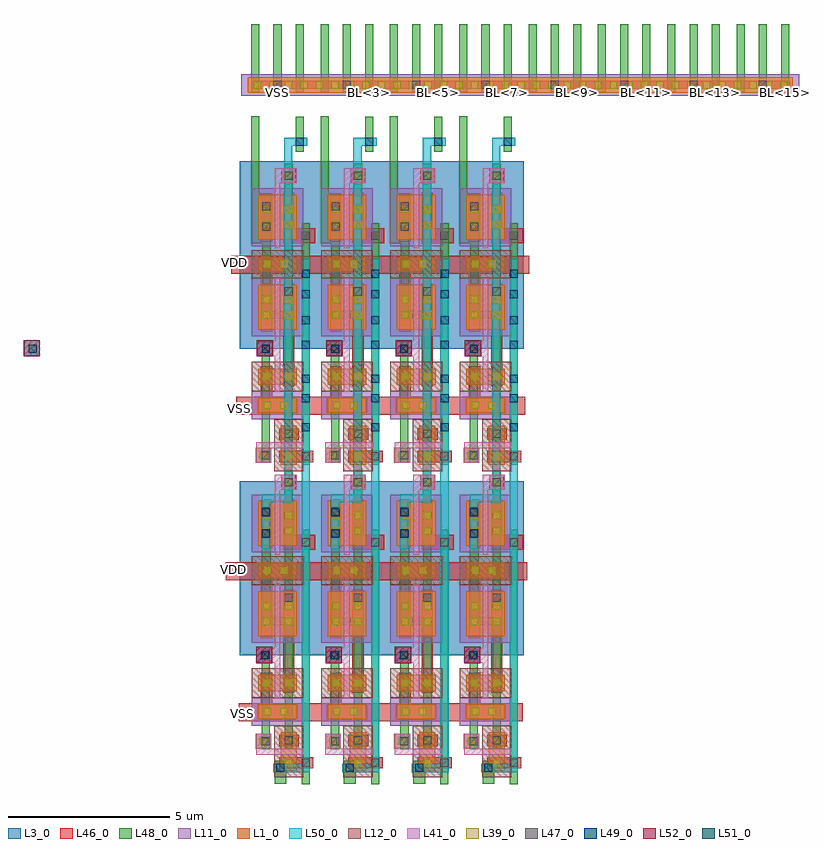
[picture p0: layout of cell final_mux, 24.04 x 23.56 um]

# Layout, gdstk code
import gdstk
lib = gdstk.Library(unit=1e-6, precision=1e-09)
def R(c, l, rs):  # rectangles x0, y0, x1, y1
    for r in rs: c.add(gdstk.rectangle(r[:2], r[2:], *l))
def A(c, l, x, y, w, h, nx, ny, dx, dy):  # array of equal rectangles
    R(c, l, [(x+i*dx, y+j*dy, x+i*dx+w, y+j*dy+h) for i in range(nx) for j in range(ny)])
L1_0 = (1, 0)
L3_0 = (3, 0)
L11_0 = (11, 0)
L12_0 = (12, 0)
L39_0 = (39, 0)
L41_0 = (41, 0)
L46_0 = (46, 0)
L47_0 = (47, 0)
L48_0 = (48, 0)
L49_0 = (49, 0)
L50_0 = (50, 0)
L51_0 = (51, 0)
L52_0 = (52, 0)

final_mux = lib.new_cell('final_mux')
A(final_mux, L1_0, 6.136, -16.386, 0.5, 1.2, 4, 2, 2.15, 9.5)
A(final_mux, L1_0, 5.441, -14.78, 1.2, 0.47, 4, 2, 2.15, 4.375)
A(final_mux, L1_0, 5.441, -13.91, 1.2, 0.5, 4, 2, 2.15, 9.5)
A(final_mux, L1_0, 5.441, -12.205, 1.2, 1.395, 4, 2, 2.15, 2.795)
A(final_mux, L1_0, 5.441, -5.28, 1.2, 0.47, 4, 2, 2.15, 4.375)
A(final_mux, L1_0, 5.441, -2.705, 1.2, 1.395, 4, 2, 2.15, 2.795)
R(final_mux, L1_0, [(5.115,4.65,22.015,5.12)])
A(final_mux, L3_0, 4.863, -12.8, 2.355, 5.39, 4, 1, 2.15, 0)
A(final_mux, L3_0, 4.863, -3.3, 2.355, 5.82, 4, 1, 2.15, 0)
A(final_mux, L11_0, 5.241, -14.98, 1.6, 0.87, 4, 2, 2.15, 9.5)
A(final_mux, L11_0, 5.241, -12.405, 1.6, 1.795, 4, 2, 2.15, 2.795)
A(final_mux, L11_0, 5.241, -2.905, 1.6, 1.795, 4, 2, 2.15, 2.795)
R(final_mux, L11_0, [(4.915,4.55,22.215,5.22)])
A(final_mux, L12_0, 5.936, -16.586, 0.905, 1.6, 4, 2, 2.15, 9.5)
A(final_mux, L12_0, 5.241, -14.11, 1.6, 0.905, 4, 2, 2.15, 9.5)
A(final_mux, L12_0, 5.241, -10.605, 1.6, 0.87, 4, 2, 2.15, 9.5)
A(final_mux, L39_0, 6.271, -16.246, 0.23, 0.23, 4, 2, 2.15, 9.5)
A(final_mux, L39_0, 5.496, -15.58, 0.23, 0.23, 4, 2, 2.15, 8.865)
A(final_mux, L39_0, 5.561, -12.91, 0.23, 0.23, 4, 2, 2.15, 9.5)
A(final_mux, L39_0, 6.266, -7.545, 0.23, 0.23, 4, 2, 2.15, 9.5)
A(final_mux, L39_0, 5.31, 4.77, 0.23, 0.23, 35, 1, 0.48, 0)
R(final_mux, L39_0, [(6.271,-15.556,6.501,-15.326), (6.271,-15.556,6.501,-15.326), (8.421,-15.556,8.651,-15.326), (8.421,-15.556,8.651,-15.326), (10.571,-15.556,10.801,-15.326), (10.571,-15.556,10.801,-15.326), (12.721,-15.556,12.951,-15.326), (12.721,-15.556,12.951,-15.326), (5.611,-14.66,5.841,-14.43), (6.126,-14.66,6.356,-14.43), (7.761,-14.66,7.991,-14.43), (8.276,-14.66,8.506,-14.43), (9.911,-14.66,10.141,-14.43), (10.426,-14.66,10.656,-14.43), (12.061,-14.66,12.291,-14.43), (12.576,-14.66,12.806,-14.43), (5.581,-13.775,5.811,-13.545), (5.581,-13.775,5.811,-13.545), (6.271,-13.775,6.501,-13.545), (7.731,-13.775,7.961,-13.545), (7.731,-13.775,7.961,-13.545), (8.421,-13.775,8.651,-13.545), (9.881,-13.775,10.111,-13.545), (9.881,-13.775,10.111,-13.545), (10.571,-13.775,10.801,-13.545), (12.031,-13.775,12.261,-13.545), (12.031,-13.775,12.261,-13.545), (12.721,-13.775,12.951,-13.545), (5.581,-11.86,5.811,-11.63), (5.581,-11.86,5.811,-11.63), (6.271,-11.86,6.501,-11.63), (7.731,-11.86,7.961,-11.63), (7.731,-11.86,7.961,-11.63), (8.421,-11.86,8.651,-11.63), (9.881,-11.86,10.111,-11.63), (9.881,-11.86,10.111,-11.63), (10.571,-11.86,10.801,-11.63), (12.031,-11.86,12.261,-11.63), (12.031,-11.86,12.261,-11.63), (12.721,-11.86,12.951,-11.63), (5.581,-11.38,5.811,-11.15), (5.581,-11.38,5.811,-11.15), (6.271,-11.38,6.501,-11.15), (7.731,-11.38,7.961,-11.15), (7.731,-11.38,7.961,-11.15), (8.421,-11.38,8.651,-11.15), (9.881,-11.38,10.111,-11.15), (9.881,-11.38,10.111,-11.15), (10.571,-11.38,10.801,-11.15), (12.031,-11.38,12.261,-11.15), (12.031,-11.38,12.261,-11.15), (12.721,-11.38,12.951,-11.15), (5.611,-10.285,5.841,-10.055), (6.126,-10.285,6.356,-10.055), (7.761,-10.285,7.991,-10.055), (8.276,-10.285,8.506,-10.055), (9.911,-10.285,10.141,-10.055), (10.426,-10.285,10.656,-10.055), (12.061,-10.285,12.291,-10.055), (12.576,-10.285,12.806,-10.055), (5.581,-9.065,5.811,-8.835), (5.581,-9.065,5.811,-8.835), (6.271,-9.065,6.501,-8.835), (7.731,-9.065,7.961,-8.835), (7.731,-9.065,7.961,-8.835), (8.421,-9.065,8.651,-8.835), (9.881,-9.065,10.111,-8.835), (9.881,-9.065,10.111,-8.835), (10.571,-9.065,10.801,-8.835), (12.031,-9.065,12.261,-8.835), (12.031,-9.065,12.261,-8.835), (12.721,-9.065,12.951,-8.835), (5.581,-8.585,5.811,-8.355), (5.581,-8.585,5.811,-8.355), (6.271,-8.585,6.501,-8.355), (7.731,-8.585,7.961,-8.355), (7.731,-8.585,7.961,-8.355), (8.421,-8.585,8.651,-8.355), (9.881,-8.585,10.111,-8.355), (9.881,-8.585,10.111,-8.355), (10.571,-8.585,10.801,-8.355), (12.031,-8.585,12.261,-8.355), (12.031,-8.585,12.261,-8.355), (12.721,-8.585,12.951,-8.355), (6.271,-6.056,6.501,-5.826), (6.271,-6.056,6.501,-5.826), (8.421,-6.056,8.651,-5.826), (8.421,-6.056,8.651,-5.826), (10.571,-6.056,10.801,-5.826), (10.571,-6.056,10.801,-5.826), (12.721,-6.056,12.951,-5.826), (12.721,-6.056,12.951,-5.826), (5.611,-5.16,5.841,-4.93), (6.126,-5.16,6.356,-4.93), (7.761,-5.16,7.991,-4.93), (8.276,-5.16,8.506,-4.93), (9.911,-5.16,10.141,-4.93), (10.426,-5.16,10.656,-4.93), (12.061,-5.16,12.291,-4.93), (12.576,-5.16,12.806,-4.93), (5.581,-4.275,5.811,-4.045), (5.581,-4.275,5.811,-4.045), (6.271,-4.275,6.501,-4.045), (7.731,-4.275,7.961,-4.045), (7.731,-4.275,7.961,-4.045), (8.421,-4.275,8.651,-4.045), (9.881,-4.275,10.111,-4.045), (9.881,-4.275,10.111,-4.045), (10.571,-4.275,10.801,-4.045), (12.031,-4.275,12.261,-4.045), (12.031,-4.275,12.261,-4.045), (12.721,-4.275,12.951,-4.045), (5.581,-2.36,5.811,-2.13), (5.581,-2.36,5.811,-2.13), (6.271,-2.36,6.501,-2.13), (7.731,-2.36,7.961,-2.13), (7.731,-2.36,7.961,-2.13), (8.421,-2.36,8.651,-2.13), (9.881,-2.36,10.111,-2.13), (9.881,-2.36,10.111,-2.13), (10.571,-2.36,10.801,-2.13), (12.031,-2.36,12.261,-2.13), (12.031,-2.36,12.261,-2.13), (12.721,-2.36,12.951,-2.13), (5.581,-1.88,5.811,-1.65), (5.581,-1.88,5.811,-1.65), (6.271,-1.88,6.501,-1.65), (7.731,-1.88,7.961,-1.65), (7.731,-1.88,7.961,-1.65), (8.421,-1.88,8.651,-1.65), (9.881,-1.88,10.111,-1.65), (9.881,-1.88,10.111,-1.65), (10.571,-1.88,10.801,-1.65), (12.031,-1.88,12.261,-1.65), (12.031,-1.88,12.261,-1.65), (12.721,-1.88,12.951,-1.65), (5.611,-0.785,5.841,-0.555), (6.126,-0.785,6.356,-0.555), (7.761,-0.785,7.991,-0.555), (8.276,-0.785,8.506,-0.555), (9.911,-0.785,10.141,-0.555), (10.426,-0.785,10.656,-0.555), (12.061,-0.785,12.291,-0.555), (12.576,-0.785,12.806,-0.555), (5.581,0.435,5.811,0.665), (5.581,0.435,5.811,0.665), (6.271,0.435,6.501,0.665), (7.731,0.435,7.961,0.665), (7.731,0.435,7.961,0.665), (8.421,0.435,8.651,0.665), (9.881,0.435,10.111,0.665), (9.881,0.435,10.111,0.665), (10.571,0.435,10.801,0.665), (12.031,0.435,12.261,0.665), (12.031,0.435,12.261,0.665), (12.721,0.435,12.951,0.665), (5.581,0.915,5.811,1.145), (5.581,0.915,5.811,1.145), (6.271,0.915,6.501,1.145), (7.731,0.915,7.961,1.145), (7.731,0.915,7.961,1.145), (8.421,0.915,8.651,1.145), (9.881,0.915,10.111,1.145), (9.881,0.915,10.111,1.145), (10.571,0.915,10.801,1.145), (12.031,0.915,12.261,1.145), (12.031,0.915,12.261,1.145), (12.721,0.915,12.951,1.145)])
A(final_mux, L41_0, 5.376, -15.876, 1.465, 0.18, 4, 2, 2.15, 9.5)
A(final_mux, L41_0, 5.376, -15.7, 0.475, 0.47, 4, 2, 2.15, 8.865)
A(final_mux, L41_0, 5.951, -14.11, 0.18, 1.09, 4, 2, 2.15, 9.5)
A(final_mux, L41_0, 5.421, -13.03, 0.71, 0.47, 4, 2, 2.15, 9.5)
A(final_mux, L41_0, 5.951, -12.615, 0.18, 2.005, 4, 2, 2.15, 9.5)
A(final_mux, L41_0, 5.951, -9.675, 0.18, 2.035, 4, 2, 2.15, 9.5)
A(final_mux, L41_0, 5.951, -7.665, 0.68, 0.47, 4, 2, 2.15, 9.5)
A(final_mux, L46_0, 6.091, -16.306, 0.64, 0.35, 4, 2, 2.15, 9.5)
A(final_mux, L46_0, 6.551, -16.306, 0.595, 0.351, 4, 2, 2.15, 9.5)
A(final_mux, L46_0, 5.366, -15.7, 0.485, 0.47, 4, 2, 2.15, 8.865)
A(final_mux, L46_0, 6.091, -15.616, 0.615, 0.35, 4, 2, 2.15, 9.5)
A(final_mux, L46_0, 5.376, -14.845, 1.295, 0.555, 4, 2, 2.15, 4.375)
A(final_mux, L46_0, 5.521, -14.315, 0.35, 0.975, 4, 2, 2.15, 9.5)
A(final_mux, L46_0, 5.521, -13.955, 0.35, 0.615, 4, 2, 2.15, 9.5)
A(final_mux, L46_0, 6.211, -13.955, 0.35, 0.87, 4, 2, 2.15, 9.5)
A(final_mux, L46_0, 6.211, -13.115, 0.35, 2.35, 4, 2, 2.15, 9.5)
A(final_mux, L46_0, 5.421, -13.03, 0.45, 0.47, 4, 1, 2.15, 0)
A(final_mux, L46_0, 5.521, -12.265, 0.35, 1.5, 4, 2, 2.15, 2.795)
A(final_mux, L46_0, 5.521, -12.265, 0.35, 1.81, 4, 2, 2.15, 9.5)
A(final_mux, L46_0, 6.211, -9.53, 0.35, 1.57, 4, 2, 2.15, 9.5)
A(final_mux, L46_0, 6.161, -7.665, 0.45, 0.47, 4, 2, 2.15, 9.5)
A(final_mux, L46_0, 5.376, -5.345, 1.295, 0.555, 4, 2, 2.15, 4.375)
A(final_mux, L46_0, 5.421, -3.53, 0.485, 0.47, 4, 1, 2.15, 0)
A(final_mux, L46_0, 5.521, -2.765, 0.35, 1.5, 4, 2, 2.15, 2.795)
R(final_mux, L46_0, [(4.841,-14.845,13.646,-14.29), (4.431,-10.47,13.791,-9.915), (6.536,-9.53,6.986,-9.06), (6.756,-9.53,7.206,-9.06), (8.686,-9.53,9.136,-9.06), (8.906,-9.53,9.356,-9.06), (10.836,-9.53,11.286,-9.06), (11.056,-9.53,11.506,-9.06), (12.986,-9.53,13.436,-9.06), (13.206,-9.53,13.656,-9.06), (4.756,-5.345,13.716,-4.79), (4.611,-0.97,13.841,-0.415), (6.536,-0.03,6.986,0.44), (6.756,-0.03,7.206,0.44), (8.686,-0.03,9.136,0.44), (8.906,-0.03,9.356,0.44), (10.836,-0.03,11.286,0.44), (11.056,-0.03,11.506,0.44), (12.986,-0.03,13.436,0.44), (13.206,-0.03,13.656,0.44), (5.23,4.76,21.94,5.01)])
A(final_mux, L47_0, 6.791, -16.255, 0.25, 0.25, 4, 2, 2.15, 6.835)
A(final_mux, L47_0, 5.551, -15.585, 0.25, 0.25, 4, 2, 2.15, 2.66)
A(final_mux, L47_0, 6.261, -15.561, 0.25, 0.25, 4, 2, 2.15, 4.416)
A(final_mux, L47_0, 5.566, -9.135, 0.25, 0.25, 4, 2, 2.15, 0.635)
A(final_mux, L47_0, 6.261, -7.56, 0.25, 0.25, 4, 2, 2.15, 1.499)
A(final_mux, L47_0, 6.791, -6.755, 0.25, 0.25, 4, 2, 2.15, 6.835)
A(final_mux, L47_0, 5.551, -6.72, 0.25, 0.25, 4, 2, 2.15, 3.295)
A(final_mux, L47_0, 6.261, -1.645, 0.25, 0.25, 4, 2, 2.15, 3.585)
A(final_mux, L47_0, 5.566, 0.365, 0.25, 0.25, 4, 2, 2.15, 0.635)
A(final_mux, L47_0, 5.915, 4.76, 0.25, 0.25, 8, 1, 2.15, 0)
A(final_mux, L48_0, 6.791, -16.79, 0.25, 7.89, 4, 1, 2.15, 0)
A(final_mux, L48_0, 5.546, -15.705, 0.26, 1.65, 4, 1, 2.15, 0)
A(final_mux, L48_0, 6.26, -15.674, 0.26, 3.15, 4, 2, 2.15, 9.5)
A(final_mux, L48_0, 5.546, -14.91, 0.26, 2.35, 4, 1, 2.15, 0)
A(final_mux, L48_0, 6.261, -12.6, 0.259, 0.985, 4, 2, 2.15, 9.5)
A(final_mux, L48_0, 5.55, -11.865, 0.275, 3.885, 4, 1, 2.15, 0)
A(final_mux, L48_0, 5.565, -11.865, 0.946, 0.25, 4, 2, 2.15, 9.5)
A(final_mux, L48_0, 6.261, -11.27, 0.25, 4.205, 4, 2, 2.15, 9.5)
A(final_mux, L48_0, 6.791, -6.89, 0.255, 7.49, 4, 1, 2.15, 0)
A(final_mux, L48_0, 5.551, -6.835, 0.25, 2.28, 4, 1, 2.15, 0)
A(final_mux, L48_0, 5.546, -5.41, 0.255, 2.35, 4, 1, 2.15, 0)
A(final_mux, L48_0, 5.56, -2.365, 0.265, 3.885, 4, 1, 2.15, 0)
A(final_mux, L48_0, 5.225, -0.025, 0.25, 1.54, 4, 2, 2.15, 1.48)
A(final_mux, L48_0, 5.41, -0.025, 0.25, 1.545, 4, 1, 2.15, 0)
A(final_mux, L48_0, 5.225, 2.82, 0.25, 1.1, 4, 1, 2.15, 0)
A(final_mux, L48_0, 6.605, 2.82, 0.25, 1.075, 4, 1, 2.15, 0)
R(final_mux, L48_0, [(5.949,-16.785,6.209,-16.065), (6.054,-16.785,6.314,-16.065), (8.099,-16.785,8.359,-16.065), (8.204,-16.785,8.464,-16.065), (10.249,-16.785,10.509,-16.065), (10.354,-16.785,10.614,-16.065), (12.399,-16.785,12.659,-16.065), (12.504,-16.785,12.764,-16.065)])
A(final_mux, L49_0, 6.005, -16.415, 0.25, 0.25, 4, 1, 2.15, 0)
A(final_mux, L49_0, 5.55, -12.925, 0.25, 0.25, 4, 2, 2.15, 3.765)
A(final_mux, L49_0, 5.55, -8.48, 0.25, 0.25, 4, 2, 2.15, 5.065)
A(final_mux, L49_0, 6.795, -5.85, 0.25, 0.25, 4, 2, 2.15, 0.9)
A(final_mux, L49_0, 6.795, -4.35, 0.25, 0.25, 4, 2, 2.15, 1.05)
A(final_mux, L49_0, 6.795, -2.53, 0.25, 0.25, 4, 2, 2.15, 0.805)
A(final_mux, L49_0, 6.795, -1.095, 0.25, 0.25, 4, 1, 2.15, 0)
A(final_mux, L49_0, 6.605, 3.005, 0.25, 0.25, 4, 1, 2.15, 0)
A(final_mux, L50_0, 5.905, -16.419, 1.141, 0.255, 4, 1, 2.15, 0)
A(final_mux, L50_0, 6.791, -16.395, 0.255, 15.895, 4, 1, 2.15, 0)
A(final_mux, L50_0, 5.545, -9.515, 0.255, 1.665, 4, 1, 2.15, 0)
A(final_mux, L50_0, 5.545, -8.055, 0.96, 0.255, 4, 1, 2.15, 0)
A(final_mux, L50_0, 6.246, -7.93, 0.255, 11.185, 4, 1, 2.15, 0)
A(final_mux, L50_0, 5.405, -3.53, 0.5, 0.5, 4, 1, 2.15, 0)
A(final_mux, L50_0, 6.25, 3.005, 0.71, 0.25, 4, 1, 2.15, 0)
R(final_mux, L50_0, [(5.38,-13.04,5.88,-12.54), (5.38,-13.04,5.88,-12.54), (7.53,-13.04,8.03,-12.54), (7.53,-13.04,8.03,-12.54), (9.68,-13.04,10.18,-12.54), (9.68,-13.04,10.18,-12.54), (11.83,-13.04,12.33,-12.54), (11.83,-13.04,12.33,-12.54), (-1.825,-3.53,-1.325,-3.03)])
A(final_mux, L51_0, 5.525, -12.925, 0.25, 0.25, 4, 1, 2.15, 0)
A(final_mux, L51_0, 5.545, -3.415, 0.25, 0.25, 4, 1, 2.15, 0)
R(final_mux, L51_0, [(-1.68,-3.415,-1.43,-3.165)])
A(final_mux, L52_0, 5.38, -13.04, 0.5, 0.5, 4, 1, 2.15, 0)
A(final_mux, L52_0, 5.4, -3.53, 0.5, 0.5, 4, 1, 2.15, 0)
R(final_mux, L52_0, [(-1.825,-3.53,-1.325,-3.03)])
final_mux.add(gdstk.FlexPath([(13.95,4.66),(13.95,6.775)], 0.25, ends="flush", simple_path=True, layer=48, datatype=0))  # L48_0
final_mux.add(gdstk.FlexPath([(14.64,4.66),(14.64,6.775)], 0.25, ends="flush", simple_path=True, layer=48, datatype=0))  # L48_0
final_mux.add(gdstk.FlexPath([(15.33,4.66),(15.33,6.775)], 0.25, ends="flush", simple_path=True, layer=48, datatype=0))  # L48_0
final_mux.add(gdstk.FlexPath([(16.1,4.66),(16.1,6.775)], 0.25, ends="flush", simple_path=True, layer=48, datatype=0))  # L48_0
final_mux.add(gdstk.FlexPath([(16.79,4.66),(16.79,6.775)], 0.25, ends="flush", simple_path=True, layer=48, datatype=0))  # L48_0
final_mux.add(gdstk.FlexPath([(17.48,4.66),(17.48,6.775)], 0.25, ends="flush", simple_path=True, layer=48, datatype=0))  # L48_0
final_mux.add(gdstk.FlexPath([(18.25,4.66),(18.25,6.775)], 0.25, ends="flush", simple_path=True, layer=48, datatype=0))  # L48_0
final_mux.add(gdstk.FlexPath([(18.94,4.66),(18.94,6.775)], 0.25, ends="flush", simple_path=True, layer=48, datatype=0))  # L48_0
final_mux.add(gdstk.FlexPath([(19.63,4.66),(19.63,6.775)], 0.25, ends="flush", simple_path=True, layer=48, datatype=0))  # L48_0
final_mux.add(gdstk.FlexPath([(20.4,4.66),(20.4,6.775)], 0.25, ends="flush", simple_path=True, layer=48, datatype=0))  # L48_0
final_mux.add(gdstk.FlexPath([(21.09,4.66),(21.09,6.775)], 0.25, ends="flush", simple_path=True, layer=48, datatype=0))  # L48_0
final_mux.add(gdstk.FlexPath([(21.78,4.66),(21.78,6.775)], 0.25, ends="flush", simple_path=True, layer=48, datatype=0))  # L48_0
final_mux.add(gdstk.FlexPath([(5.35,4.66),(5.35,6.775)], 0.25, ends="flush", simple_path=True, layer=48, datatype=0))  # L48_0
final_mux.add(gdstk.FlexPath([(6.04,4.66),(6.04,6.775)], 0.25, ends="flush", simple_path=True, layer=48, datatype=0))  # L48_0
final_mux.add(gdstk.FlexPath([(6.73,4.66),(6.73,6.775)], 0.25, ends="flush", simple_path=True, layer=48, datatype=0))  # L48_0
final_mux.add(gdstk.FlexPath([(7.5,4.66),(7.5,6.775)], 0.25, ends="flush", simple_path=True, layer=48, datatype=0))  # L48_0
final_mux.add(gdstk.FlexPath([(8.19,4.66),(8.19,6.775)], 0.25, ends="flush", simple_path=True, layer=48, datatype=0))  # L48_0
final_mux.add(gdstk.FlexPath([(8.88,4.66),(8.88,6.775)], 0.25, ends="flush", simple_path=True, layer=48, datatype=0))  # L48_0
final_mux.add(gdstk.FlexPath([(9.65,4.66),(9.65,6.775)], 0.25, ends="flush", simple_path=True, layer=48, datatype=0))  # L48_0
final_mux.add(gdstk.FlexPath([(10.34,4.66),(10.34,6.775)], 0.25, ends="flush", simple_path=True, layer=48, datatype=0))  # L48_0
final_mux.add(gdstk.FlexPath([(11.03,4.66),(11.03,6.775)], 0.25, ends="flush", simple_path=True, layer=48, datatype=0))  # L48_0
final_mux.add(gdstk.FlexPath([(13.18,4.66),(13.18,6.775)], 0.25, ends="flush", simple_path=True, layer=48, datatype=0))  # L48_0
final_mux.add(gdstk.FlexPath([(12.49,4.66),(12.49,6.775)], 0.25, ends="flush", simple_path=True, layer=48, datatype=0))  # L48_0
final_mux.add(gdstk.FlexPath([(11.8,4.66),(11.8,6.775)], 0.25, ends="flush", simple_path=True, layer=48, datatype=0))  # L48_0
final_mux.add(gdstk.Label('VSS', (4.855,-5.135), layer=101, texttype=0))
final_mux.add(gdstk.Label('VSS', (4.965,-14.59), layer=101, texttype=0))
final_mux.add(gdstk.Label('VDD', (4.67,-10.13), layer=101, texttype=0))
final_mux.add(gdstk.Label('VDD', (4.7,-0.63), layer=101, texttype=0))
final_mux.add(gdstk.Label('VSS', (6.04,4.66), layer=102, texttype=0))
final_mux.add(gdstk.Label('BL<15>', (21.78,4.66), layer=102, texttype=0))
final_mux.add(gdstk.Label('BL<14>', (20.4,4.66), layer=102, texttype=0))
final_mux.add(gdstk.Label('BL<13>', (19.63,4.66), layer=102, texttype=0))
final_mux.add(gdstk.Label('BL<12>', (18.25,4.66), layer=102, texttype=0))
final_mux.add(gdstk.Label('BL<11>', (17.48,4.66), layer=102, texttype=0))
final_mux.add(gdstk.Label('BL<10>', (16.1,4.66), layer=102, texttype=0))
final_mux.add(gdstk.Label('BL<9>', (15.33,4.66), layer=102, texttype=0))
final_mux.add(gdstk.Label('BL<8>', (13.95,4.66), layer=102, texttype=0))
final_mux.add(gdstk.Label('BL<7>', (13.18,4.66), layer=102, texttype=0))
final_mux.add(gdstk.Label('BL<6>', (11.8,4.66), layer=102, texttype=0))
final_mux.add(gdstk.Label('BL<5>', (11.03,4.66), layer=102, texttype=0))
final_mux.add(gdstk.Label('BL<4>', (9.65,4.66), layer=102, texttype=0))
final_mux.add(gdstk.Label('BL<3>', (8.88,4.66), layer=102, texttype=0))
final_mux.add(gdstk.Label('BL<2>', (7.5,4.66), layer=102, texttype=0))
final_mux.add(gdstk.Label('BL<1>', (6.73,4.66), layer=102, texttype=0))
final_mux.add(gdstk.Label('BL<0>', (5.35,4.66), layer=102, texttype=0))

lib.write_gds('final_mux.gds')
